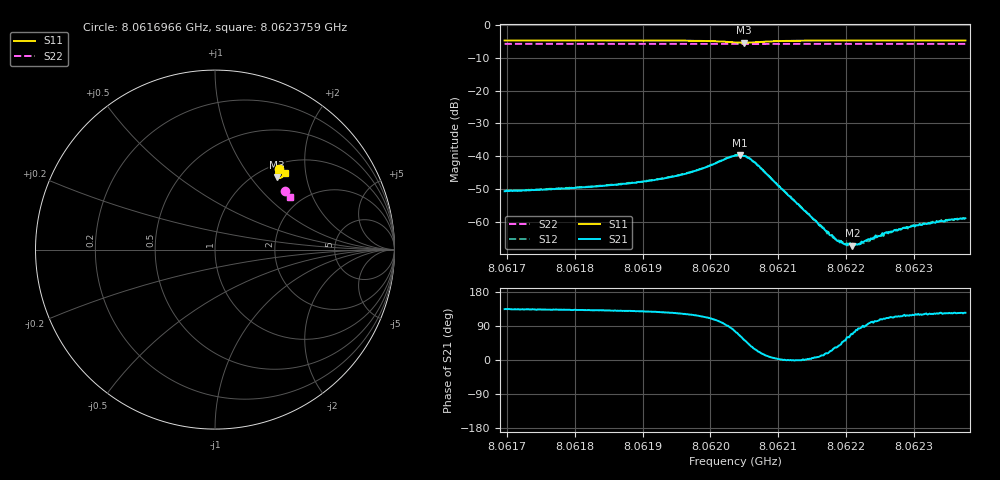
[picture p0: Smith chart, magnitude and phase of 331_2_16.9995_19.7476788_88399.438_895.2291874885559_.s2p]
#  HZ  S  RI  R  50.00
! Rohde & Schwarz Vector Network Analyzer
! Rohde-Schwarz,ZNB20-2Port,1311601062101988,3.16
! Created: UTC 3/20/2024, 11:06:55 PM
! freq[Hz]  re:S11  im:S11  re:S21  im:S21  re:S12  im:S12  re:S22  im:S22
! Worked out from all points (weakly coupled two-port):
!   401 points, 8.0616966 GHz to 8.0623759 GHz, reference 50 ohm
!   highest |S21| = -39.60 dB at 8.0620431 GHz (marker M1); lowest = -67.2 dB at 8.0622095 GHz (marker M2)
!   lowest |S11| = -5.5 dB at 8.0620499 GHz (marker M3), VSWR 3.27, Z = 60.5 + j68.3 ohm
!   |S11| at or under -10 dB: nowhere
!   |S22| runs from -5.9 to -5.8 dB; largest |S21 - S12| = 0.00074
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8.06169662e9  0.3583 0.4509  -0.00206 0.00211  -0.00198 0.00227  0.3921 0.3288
8.06181041e9  0.366 0.4444  -0.00226 0.00251  -0.00215 0.00267  0.3964 0.3232
8.06186475e9  0.37 0.4405  -0.0024 0.00287  -0.00226 0.00305  0.3984 0.3204
8.06192419e9  0.3749 0.4348  -0.00268 0.00363  -0.00246 0.00379  0.4007 0.3174
8.06195476e9  0.3777 0.4302  -0.00281 0.00436  -0.00252 0.00457  0.4017 0.3157
8.06198024e9  0.3796 0.4242  -0.00281 0.00545  -0.00251 0.00561  0.4027 0.3143
8.06203628e9  0.3614 0.399  0.00245 0.00988  0.0031 0.00991  0.4034 0.3107
8.06204307e9  0.3531 0.4  0.00445 0.00948  0.00503 0.00924  0.4034 0.3106
8.06204987e9  0.3452 0.4046  0.00615 0.00807  0.00677 0.00786  0.4032 0.3106
8.06205836e9  0.3399 0.4143  0.00715 0.00574  0.00753 0.00534  0.4035 0.3107
8.06206855e9  0.3404 0.4254  0.00677 0.00317  0.00705 0.0027  0.4038 0.3109
8.06215007e9  0.3685 0.4383  0.00115 0.000107  0.00116 1.39e-05  0.4083 0.3071
8.06218403e9  0.3736 0.4362  0.000468 0.000307  0.000493 0.000254  0.4096 0.3053
8.06219762e9  0.3751 0.4354  0.000288 0.000364  0.00029 0.000347  0.4101 0.3044
8.06220951e9  0.3764 0.4346  0.000163 0.000407  0.000193 0.000431  0.4104 0.3039
8.062218e9  0.3773 0.4341  5.38e-05 0.000461  7.2e-05 0.000454  0.4109 0.3034
8.06223668e9  0.3789 0.4329  -9.73e-05 0.000559  -4.25e-05 0.000558  0.4117 0.3025
8.06224517e9  0.3797 0.4324  -0.000127 0.000575  -9.48e-05 0.000615  0.4118 0.3021
8.06225706e9  0.3807 0.4318  -0.000219 0.000649  -0.000178 0.000682  0.4123 0.3014
8.06226385e9  0.3813 0.4312  -0.000266 0.000653  -0.000257 0.000667  0.4124 0.3011
8.06231141e9  0.385 0.4286  -0.000444 0.000789  -0.000414 0.000811  0.4143 0.2986
8.06237594e9  0.3891 0.425  -0.000649 0.000945  -0.000595 0.000988  0.4164 0.2953
